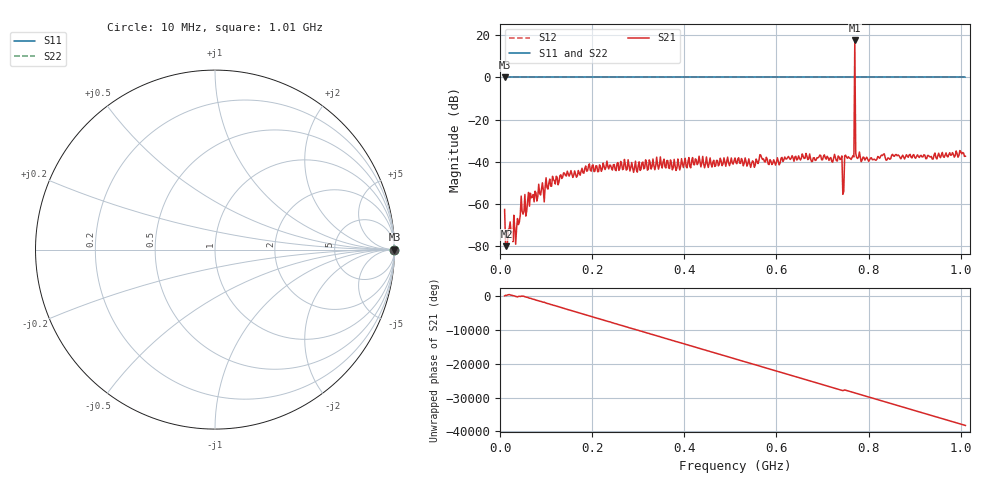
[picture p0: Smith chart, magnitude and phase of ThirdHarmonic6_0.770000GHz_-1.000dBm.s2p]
! 8/16/2025 1:43:49 AM
! C:\ANRITSUVNA\TEMP\TEMP.S2P
! CHANNEL.1
! TR.MEASUREMENT
! RAW.DATA
! RF.CORRECTION.OFF
! AVERAGING.OFF
! IF.BANDWIDTH: 5KHZ
! SWEEPTYPE:  FREQ.SWEEP(Linear)
! Reference Plane Port Info
! PORT:  PORT1  PORT2
! DISTANCE:  0  m  0  m
! TIME:  0  s  0  s
! PHASE.OFFSET:  0  deg.  0  deg.
! LOSS:  0  dB  0  dB
! REF.LOSS:  0  dB  0  dB
! REF.FREQ:  0  Hz  0  Hz
! Power Info
! POWER:  -20  dBm  -20  dBm
! EFF.POWER:  -20  dBm  -20  dBm
! SOURCE.ATTEN:  0  dB  0  dB
! TEST.ATTEN:  0  dB  0  dB
# GHZ S RI R 50.0
! FREQ.GHZ  S11RE  S11IM  S21RE  S21IM  S12RE  S12IM  S22RE  S22IM
!; PortSelection: Port_12
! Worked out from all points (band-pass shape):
!   501 points, 10 MHz to 1.01 GHz, reference 50 ohm
!   highest |S21| = 17.48 dB at 770 MHz (marker M1); lowest = -80.0 dB at 14 MHz (marker M2)
!   |S21| within 3 dB of the highest: 769.8912 MHz to 770.1123 MHz (221 kHz wide, 0.0287 % of centre)
!   lowest |S11| = 0.0 dB at 10 MHz (marker M3)
!   |S11| at or under -10 dB: nowhere
!   |S22| runs from 0.0 to 0.0 dB; largest |S21 - S12| = 8.4
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0.01  1 0  4.27e-05 0.00074  1 0  1 0
0.014  1 0  -9.98e-05 1.16e-05  1 0  1 0
0.032  1 0  0.000264 1.65e-05  1 0  1 0
0.05  1 0  0.000566 0.000113  1 0  1 0
0.054  1 0  -0.00167 0.000203  1 0  1 0
0.064  1 0  -0.000356 0.000818  1 0  1 0
0.088  1 0  -0.00036 -0.0016  1 0  1 0
0.178  1 0  -0.00669 -0.00209  1 0  1 0
0.344  1 0  0.00672 6.02e-05  1 0  1 0
0.51  1 0  -0.0123 0.000721  1 0  1 0
0.678  1 0  0.00338 -0.00961  1 0  1 0
0.738  1 0  0.00942 0.0062  1 0  1 0
0.742  1 0  -0.00776 -0.0114  1 0  1 0
0.748  1 0  0.0138 -0.000761  1 0  1 0
0.752  1 0  -0.0129 -0.000868  1 0  1 0
0.764  1 0  0.00234 0.0124  1 0  1 0
0.766  1 0  0.0137 -0.00292  1 0  1 0
0.77  1 0  -6.992 -2.666  1 0  1 0
0.774  1 0  0.0116 0.00511  1 0  1 0
0.776  1 0  0.0075 -0.00937  1 0  1 0
0.844  1 0  -0.00265 0.0119  1 0  1 0
1.01  1 0  0.00537 -0.0124  1 0  1 0
